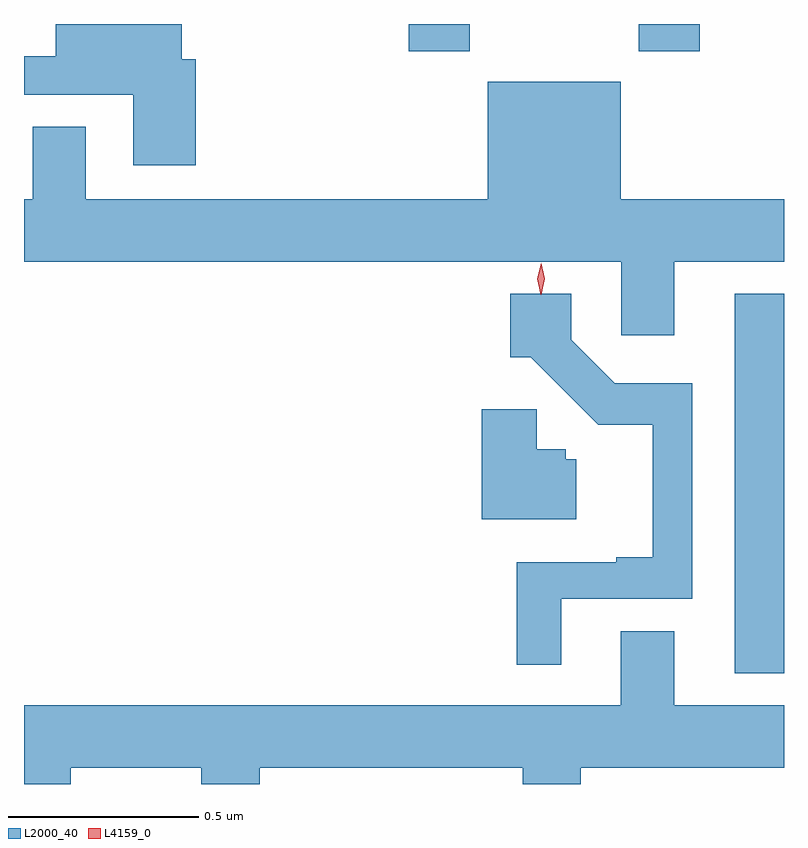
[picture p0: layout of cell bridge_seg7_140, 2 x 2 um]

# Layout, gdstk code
import gdstk
lib = gdstk.Library(unit=1e-6, precision=1e-09)
def R(c, l, rs):  # rectangles x0, y0, x1, y1
    for r in rs: c.add(gdstk.rectangle(r[:2], r[2:], *l))
def P(c, l, *ps):  # polygons
    for p in ps: c.add(gdstk.Polygon(p, *l))
L2000_40 = (2000, 40)
L4159_0 = (4159, 0)

bridge_seg7_140 = lib.new_cell('bridge_seg7_140')
R(bridge_seg7_140, L2000_40, [(734.555,1020.845,734.684,1021.843), (733.697,1022.481,733.857,1022.553), (734.302,1022.481,734.462,1022.553)])
P(bridge_seg7_140, L2000_40, [(733.136,1022.46),(733.099,1022.46),(733.099,1022.553),(732.767,1022.553),(732.767,1022.468),(732.684,1022.468),(732.684,1022.367),(732.971,1022.367),(732.971,1022.181),(733.136,1022.181)],
  [(734.395,1021.928),(734.684,1021.928),(734.684,1022.092),(734.254,1022.092),(734.254,1022.401),(733.904,1022.401),(733.904,1022.092),(732.847,1022.092),(732.847,1022.282),(732.707,1022.282),(732.707,1022.092),(732.684,1022.092),(732.684,1021.928),(734.256,1021.928),(734.256,1021.734),(734.395,1021.734)],
  [(734.098,1021.041),(734.443,1021.041),(734.443,1021.608),(734.238,1021.608),(734.124,1021.722),(734.124,1021.843),(733.964,1021.843),(733.964,1021.676),(734.017,1021.676),(734.195,1021.499),(734.339,1021.499),(734.339,1021.15),(734.243,1021.15),(734.243,1021.137),(733.981,1021.137),(733.981,1020.867),(734.098,1020.867)],
  [(734.137,1021.407),(734.109,1021.407),(734.109,1021.434),(734.033,1021.434),(734.033,1021.539),(733.889,1021.539),(733.889,1021.25),(734.137,1021.25)],
  [(732.807,1020.596),(733.151,1020.596),(733.151,1020.553),(733.304,1020.553),(733.304,1020.596),(733.997,1020.596),(733.997,1020.553),(734.149,1020.553),(734.149,1020.596),(734.684,1020.596),(734.684,1020.76),(734.395,1020.76),(734.395,1020.955),(734.255,1020.955),(734.255,1020.76),(732.684,1020.76),(732.684,1020.553),(732.807,1020.553)])
P(bridge_seg7_140, L4159_0, [(734.044,1021.841),(734.044,1021.841),(734.035,1021.882),(734.045,1021.923),(734.045,1021.923),(734.045,1021.923),(734.055,1021.882),(734.045,1021.841)])

lib.write_gds('bridge_seg7_140.gds')
